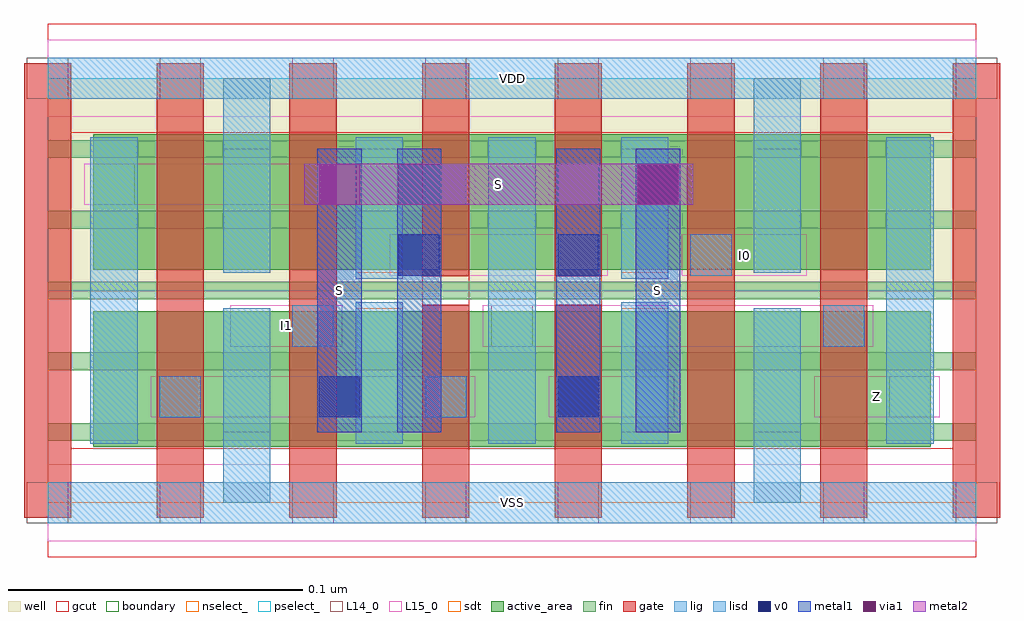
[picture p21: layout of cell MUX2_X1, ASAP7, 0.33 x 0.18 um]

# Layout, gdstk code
import gdstk
lib = gdstk.Library(unit=1e-6, precision=2.5e-10)
def R(c, l, rs):  # rectangles x0, y0, x1, y1
    for r in rs: c.add(gdstk.rectangle(r[:2], r[2:], *l))
def A(c, l, x, y, w, h, nx, ny, dx, dy):  # array of equal rectangles
    R(c, l, [(x+i*dx, y+j*dy, x+i*dx+w, y+j*dy+h) for i in range(nx) for j in range(ny)])
well = (1, 0)
fin = (2, 0)
gate = (7, 0)
gcut = (10, 0)
active_area = (11, 0)
nselect_ = (12, 0)
pselect_ = (13, 0)
L14_0 = (14, 0)
L15_0 = (15, 0)
lig = (16, 0)
lisd = (17, 0)
v0 = (18, 0)
metal1 = (19, 0)
metal2 = (20, 0)
via1 = (21, 0)
sdt = (88, 0)
boundary = (100, 0)

mux2_x1 = lib.new_cell('MUX2_X1')
R(mux2_x1, well, [(0,0.072,0.315,0.144)])
A(mux2_x1, fin, 0, 0.021, 0.315, 0.006, 1, 5, 0, 0.024)
A(mux2_x1, gate, -0.008, -0.005, 0.016, 0.154, 3, 1, 0.045, 0)
A(mux2_x1, gate, 0.217, -0.005, 0.016, 0.154, 3, 1, 0.045, 0)
R(mux2_x1, gate, [(0.127,-0.005,0.143,0.067), (0.172,-0.005,0.188,0.067), (0.127,0.077,0.143,0.149), (0.172,0.077,0.188,0.149)])
R(mux2_x1, gcut, [(0,-0.0185,0.315,0.0185), (-0.008,-0.005,0.008,0.149), (0.307,-0.005,0.323,0.149), (0.127,0.067,0.143,0.077), (0.172,0.067,0.188,0.077), (0,0.1255,0.315,0.1625)])
A(mux2_x1, active_area, 0.0155, 0.019, 0.059, 0.046, 6, 2, 0.045, 0.06)
R(mux2_x1, nselect_, [(0,0,0.315,0.072)])
R(mux2_x1, pselect_, [(0,0.072,0.315,0.144)])
A(mux2_x1, L14_0, -0.007, -0.007, 0.014, 0.014, 8, 2, 0.045, 0.144)
R(mux2_x1, L14_0, [(0.038,0.029,0.052,0.043), (0.128,0.029,0.142,0.043), (0.173,0.029,0.187,0.043), (0.2855,0.029,0.2995,0.043), (0.083,0.053,0.097,0.067), (0.1505,0.053,0.1645,0.067), (0.263,0.053,0.277,0.067), (0.218,0.077,0.232,0.091), (0.0155,0.101,0.0295,0.115), (0.128,0.101,0.142,0.115), (0.173,0.101,0.187,0.115)])
R(mux2_x1, L15_0, [(0,-0.013,0.315,0.013), (0.035,0.029,0.145,0.043), (0.17,0.029,0.2125,0.043), (0.26,0.029,0.3025,0.043), (0.062,0.053,0.1,0.067), (0.1475,0.053,0.28,0.067), (0.116,0.077,0.19,0.091), (0.215,0.077,0.2575,0.091), (0.0125,0.101,0.145,0.115), (0.17,0.101,0.217,0.115), (0,0.131,0.315,0.157)])
R(mux2_x1, lig, [(0,-0.007,0.315,0.007), (0.038,0.029,0.052,0.043), (0.128,0.029,0.142,0.043), (0.173,0.029,0.187,0.043), (0.083,0.053,0.097,0.067), (0.263,0.053,0.277,0.067), (0.218,0.077,0.232,0.091), (0.128,0.101,0.142,0.115), (0.173,0.101,0.187,0.115), (0,0.137,0.315,0.151)])
R(mux2_x1, lisd, [(0.0595,0,0.0755,0.066), (0.0595,0,0.0755,0.066), (0.2395,0,0.2555,0.066), (0.2395,0,0.2555,0.066), (0.0145,0.02,0.0305,0.124), (0.1045,0.02,0.1205,0.068), (0.1045,0.02,0.1205,0.068), (0.1495,0.02,0.1655,0.124), (0.1495,0.02,0.1655,0.124), (0.1945,0.02,0.2105,0.068), (0.1945,0.02,0.2105,0.068), (0.2845,0.02,0.3005,0.124), (0.1045,0.076,0.1205,0.124), (0.1045,0.076,0.1205,0.124), (0.1945,0.076,0.2105,0.124), (0.1945,0.076,0.2105,0.124), (0.0595,0.078,0.0755,0.144), (0.0595,0.078,0.0755,0.144), (0.2395,0.078,0.2555,0.144), (0.2395,0.078,0.2555,0.144)])
R(mux2_x1, v0, [(0.092,0.029,0.106,0.043), (0.173,0.029,0.187,0.043), (0.119,0.077,0.133,0.091), (0.173,0.077,0.187,0.091), (0.119,0.101,0.133,0.115), (0.2,0.101,0.214,0.115)])
R(mux2_x1, metal1, [(0.0915,0.024,0.1065,0.12), (0.1185,0.024,0.1335,0.12), (0.1725,0.024,0.1875,0.12), (0.1995,0.024,0.2145,0.12)])
R(mux2_x1, metal2, [(0.087,0.101,0.219,0.115)])
R(mux2_x1, via1, [(0.092,0.101,0.106,0.115), (0.2,0.101,0.214,0.115)])
R(mux2_x1, sdt, [(0.0145,0.02,0.0305,0.124), (0.1495,0.02,0.1655,0.124), (0.1495,0.02,0.1655,0.124), (0.2845,0.02,0.3005,0.124), (0.0595,0.024,0.0755,0.066), (0.0595,0.024,0.0755,0.066), (0.1045,0.024,0.1205,0.066), (0.1045,0.024,0.1205,0.066), (0.1945,0.024,0.2105,0.066), (0.1945,0.024,0.2105,0.066), (0.2395,0.024,0.2555,0.066), (0.2395,0.024,0.2555,0.066), (0.0595,0.078,0.0755,0.12), (0.0595,0.078,0.0755,0.12), (0.1045,0.078,0.1205,0.12), (0.1045,0.078,0.1205,0.12), (0.1945,0.078,0.2105,0.12), (0.1945,0.078,0.2105,0.12), (0.2395,0.078,0.2555,0.12), (0.2395,0.078,0.2555,0.12)])
R(mux2_x1, boundary, [(0,0,0.315,0.144)])
mux2_x1.add(gdstk.Label('VDD', (0.1575,0.144), layer=1, texttype=251))
mux2_x1.add(gdstk.Label('VSS', (0.1575,0), layer=3, texttype=251))
mux2_x1.add(gdstk.Label('I1', (0.081,0.06), layer=15, texttype=251))
mux2_x1.add(gdstk.Label('I0', (0.2363,0.084), layer=15, texttype=251))
mux2_x1.add(gdstk.Label('Z', (0.2812,0.036), layer=15, texttype=251))
mux2_x1.add(gdstk.Label('VSS', (0.1575,0), layer=15, texttype=251))
mux2_x1.add(gdstk.Label('VDD', (0.1575,0.144), layer=15, texttype=251))
mux2_x1.add(gdstk.Label('S', (0.099,0.072), layer=19, texttype=251))
mux2_x1.add(gdstk.Label('S', (0.207,0.072), layer=19, texttype=251))
mux2_x1.add(gdstk.Label('S', (0.153,0.108), layer=20, texttype=251))

lib.write_gds('MUX2_X1.gds')
